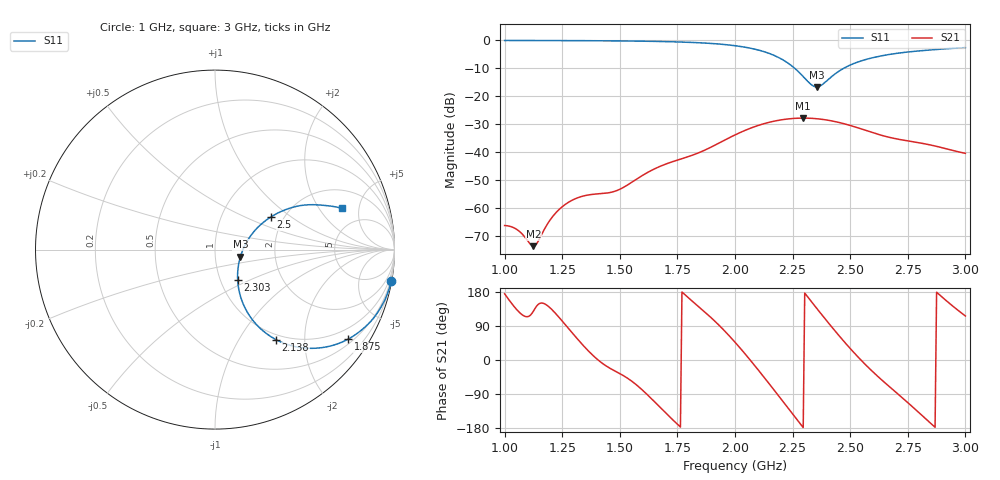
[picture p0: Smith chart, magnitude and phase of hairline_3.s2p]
! TOUCHSTONE file generated by CST MICROWAVE STUDIO
! Date and time: Tue Mar 18 20:31:35 2025
! Project name: hairline.cst
! Parameters = {B=12.5; D=160; F=15; Feed=2.85625; Fracture=2; L=100; M=30; R=0.384908; S=1.5; Theta=0; length=57.125; wave=114.25}
! Header version: 2024
! Port assignment regex: !\s*Touchstone port\s*([0-9]+)\s*=\s*(CST MWS port|CST DES external port|CST DES block port)\s*(.+)\s* \(\"(.*)\"\)(\s*mode\s*([0-9]+))?.*
! Touchstone port assignment:
! Touchstone port 1 = CST MWS port 1 ("")
! Touchstone port 2 = CST MWS port 2 ("")
# GHz S DB R 50
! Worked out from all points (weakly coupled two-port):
!   305 points, 1 GHz to 3 GHz, reference 50 ohm
!   highest |S21| = -27.85 dB at 2.296 GHz (marker M1); lowest = -73.7 dB at 1.125 GHz (marker M2)
!   lowest |S11| = -16.7 dB at 2.355 GHz (marker M3), VSWR 1.34, Z = 66.3 - j5.23 ohm
!   |S11| at or under -10 dB: 2.259 GHz to 2.472 GHz (212.7 MHz wide, 8.99 % of centre)
!   S12 and S22 are empty: the file has one direction only
!   S11 on the Smith chart (normalised r, x): 1 GHz: 0, -11; 1.875 GHz: 0.64, -3.15; 2.138 GHz: 0.92, -1.46; 2.303 GHz: 1.21, -0.43; 2.5 GHz: 1.72, +0.72; 3 GHz: 3.23, +3.32
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1  -0.02 -10.0  -66.34 174.7  -200.00 0.0  -200.00 0.0
1.05921  -0.03 -10.8  -68.12 128.6  -200.00 0.0  -200.00 0.0
1.125  -0.04 -11.8  -73.74 128.9  -200.00 0.0  -200.00 0.0
1.13816  -0.04 -12.0  -72.99 141.5  -200.00 0.0  -200.00 0.0
1.19079  -0.05 -12.8  -65.16 141.1  -200.00 0.0  -200.00 0.0
1.23026  -0.06 -13.5  -61.10 116.7  -200.00 0.0  -200.00 0.0
1.28289  -0.08 -14.4  -57.74 79.2  -200.00 0.0  -200.00 0.0
1.33553  -0.09 -15.4  -55.90 42.2  -200.00 0.0  -200.00 0.0
1.48684  -0.18 -18.8  -53.82 -31.6  -200.00 0.0  -200.00 0.0
1.67105  -0.38 -24.5  -45.27 -122.5  -200.00 0.0  -200.00 0.0
1.875  -0.98 -34.0  -39.09 123.4  -200.00 0.0  -200.00 0.0
2  -1.90 -42.9  -33.88 47.0  -200.00 0.0  -200.00 0.0
2.13816  -4.37 -55.9  -29.56 -54.8  -200.00 0.0  -200.00 0.0
2.22368  -7.79 -62.5  -28.21 -121.6  -200.00 0.0  -200.00 0.0
2.29605  -12.96 -55.5  -27.85 -178.3  -200.00 0.0  -200.00 0.0
2.30263  -13.54 -53.1  -27.85 176.6  -200.00 0.0  -200.00 0.0
2.33553  -16.11 -33.1  -27.95 151.0  -200.00 0.0  -200.00 0.0
2.35526  -16.66 -15.2  -28.08 135.8  -200.00 0.0  -200.00 0.0
2.42763  -12.44 24.8  -28.97 81.5  -200.00 0.0  -200.00 0.0
2.5  -8.83 30.3  -30.48 30.4  -200.00 0.0  -200.00 0.0
2.67105  -5.02 26.3  -34.76 -70.8  -200.00 0.0  -200.00 0.0
3  -2.57 18.0  -40.48 116.1  -200.00 0.0  -200.00 0.0
